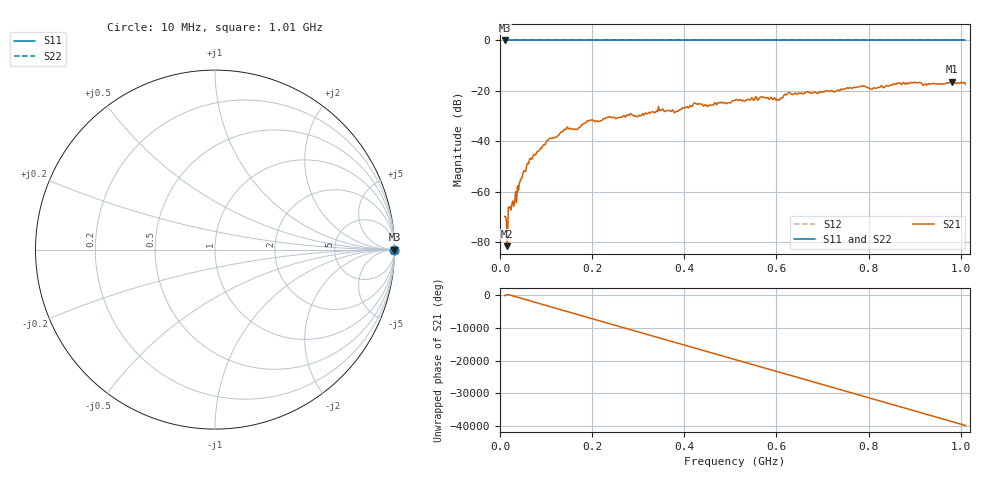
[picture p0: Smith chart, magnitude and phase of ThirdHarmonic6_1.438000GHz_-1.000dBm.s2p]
! 8/16/2025 4:37:08 PM
! C:\ANRITSUVNA\TEMP\TEMP.S2P
! CHANNEL.1
! TR.MEASUREMENT
! RAW.DATA
! RF.CORRECTION.OFF
! AVERAGING.OFF
! IF.BANDWIDTH: 5KHZ
! SWEEPTYPE:  FREQ.SWEEP(Linear)
! Reference Plane Port Info
! PORT:  PORT1  PORT2
! DISTANCE:  0  m  0  m
! TIME:  0  s  0  s
! PHASE.OFFSET:  0  deg.  0  deg.
! LOSS:  0  dB  0  dB
! REF.LOSS:  0  dB  0  dB
! REF.FREQ:  0  Hz  0  Hz
! Power Info
! POWER:  -20  dBm  -20  dBm
! EFF.POWER:  -20  dBm  -20  dBm
! SOURCE.ATTEN:  0  dB  0  dB
! TEST.ATTEN:  0  dB  0  dB
# GHZ S RI R 50.0
! FREQ.GHZ  S11RE  S11IM  S21RE  S21IM  S12RE  S12IM  S22RE  S22IM
!; PortSelection: Port_12
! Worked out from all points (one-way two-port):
!   501 points, 10 MHz to 1.01 GHz, reference 50 ohm
!   highest |S21| = -16.33 dB at 980 MHz (marker M1); lowest = -81.6 dB at 16 MHz (marker M2)
!   lowest |S11| = 0.0 dB at 10 MHz (marker M3)
!   |S11| at or under -10 dB: nowhere
!   |S22| runs from 0.0 to 0.0 dB; largest |S21 - S12| = 1.1
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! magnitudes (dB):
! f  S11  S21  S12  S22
! 10 MHz  0.0  -69.9  0.0  0.0
! 12 MHz  0.0  -69.9  0.0  0.0
! 16 MHz  0.0  -81.6  0.0  0.0
! 20 MHz  0.0  -66.5  0.0  0.0
! 22 MHz  0.0  -66.0  0.0  0.0
! 32 MHz  0.0  -63.8  0.0  0.0
! 48 MHz  0.0  -54.6  0.0  0.0
! 68 MHz  0.0  -47.2  0.0  0.0
! 106 MHz  0.0  -39.2  0.0  0.0
! 142 MHz  0.0  -35.5  0.0  0.0
! 178 MHz  0.0  -33.5  0.0  0.0
! 344 MHz  0.0  -26.2  0.0  0.0
! 382 MHz  0.0  -28.1  0.0  0.0
! 424 MHz  0.0  -25.0  0.0  0.0
! 454 MHz  0.0  -25.7  0.0  0.0
! 510 MHz  0.0  -23.7  0.0  0.0
! 602 MHz  0.0  -23.3  0.0  0.0
! 626 MHz  0.0  -20.7  0.0  0.0
! 678 MHz  0.0  -21.0  0.0  0.0
! 844 MHz  0.0  -18.1  0.0  0.0
! 980 MHz  0.0  -16.3  0.0  0.0
! 1.01 GHz  0.0  -17.3  0.0  0.0
